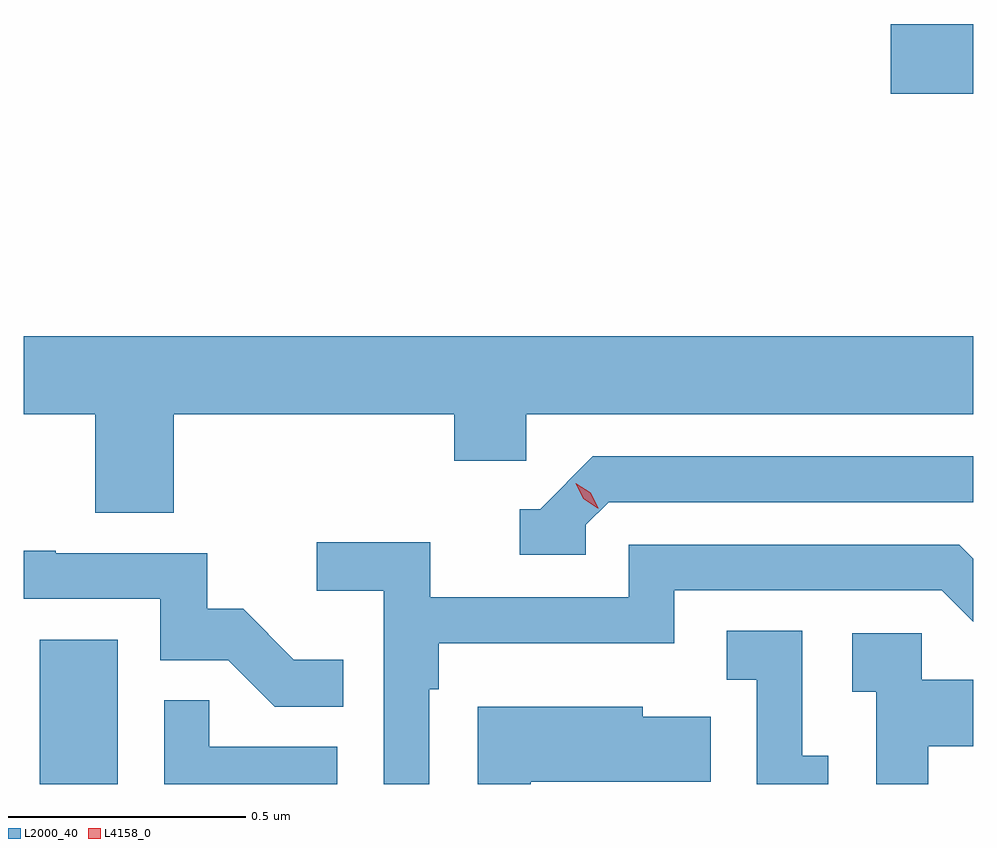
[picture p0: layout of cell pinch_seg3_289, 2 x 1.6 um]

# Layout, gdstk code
import gdstk
lib = gdstk.Library(unit=1e-6, precision=1e-09)
def R(c, l, rs):  # rectangles x0, y0, x1, y1
    for r in rs: c.add(gdstk.rectangle(r[:2], r[2:], *l))
def P(c, l, *ps):  # polygons
    for p in ps: c.add(gdstk.Polygon(p, *l))
L2000_40 = (2000, 40)
L4158_0 = (4158, 0)

pinch_seg3_289 = lib.new_cell('pinch_seg3_289')
R(pinch_seg3_289, L2000_40, [(927.002,713.457,927.166,713.761), (928.794,714.911,928.968,715.058)])
P(pinch_seg3_289, L2000_40, [(927.284,714.236),(927.875,714.236),(927.875,714.138),(928.026,714.138),(928.026,714.236),(928.968,714.236),(928.968,714.4),(926.968,714.4),(926.968,714.236),(927.119,714.236),(927.119,714.028),(927.284,714.028)],
  [(928.152,714.003),(928.2,714.051),(928.968,714.051),(928.968,714.147),(928.167,714.147),(928.056,714.036),(928.013,714.036),(928.013,713.94),(928.152,713.94)],
  [(927.822,713.657),(927.842,713.657),(927.842,713.753),(928.338,713.753),(928.338,713.865),(928.902,713.865),(928.968,713.799),(928.968,713.932),(928.939,713.961),(928.242,713.961),(928.242,713.85),(927.824,713.85),(927.824,713.966),(927.585,713.966),(927.585,713.864),(927.726,713.864),(927.726,713.457),(927.822,713.457)],
  [(927.641,713.719),(927.537,713.719),(927.43,713.826),(927.354,713.826),(927.354,713.943),(927.035,713.943),(927.035,713.948),(926.968,713.948),(926.968,713.847),(927.255,713.847),(927.255,713.718),(927.399,713.718),(927.497,713.62),(927.641,713.62)],
  [(928.663,713.517),(928.608,713.517),(928.608,713.78),(928.449,713.78),(928.449,713.677),(928.512,713.677),(928.512,713.457),(928.663,713.457)],
  [(928.873,713.537),(928.968,713.537),(928.968,713.677),(928.86,713.677),(928.86,713.775),(928.713,713.775),(928.713,713.651),(928.764,713.651),(928.764,713.457),(928.873,713.457)],
  [(927.628,713.535),(927.359,713.535),(927.359,713.633),(927.264,713.633),(927.264,713.457),(927.628,713.457)],
  [(928.036,713.462),(928.415,713.462),(928.415,713.599),(928.272,713.599),(928.272,713.62),(927.924,713.62),(927.924,713.457),(928.036,713.457)])
P(pinch_seg3_289, L4158_0, [(928.177,714.038),(928.147,714.058),(928.131,714.091),(928.131,714.091),(928.131,714.091),(928.162,714.071),(928.178,714.039),(928.178,714.038)])

lib.write_gds('pinch_seg3_289.gds')
